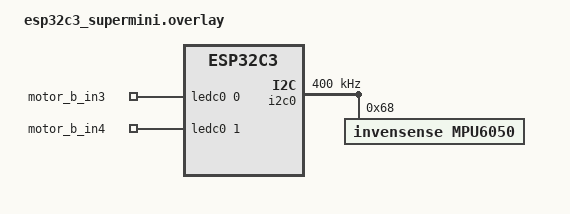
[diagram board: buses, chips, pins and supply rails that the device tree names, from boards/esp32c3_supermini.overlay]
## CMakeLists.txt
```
# SPDX-License-Identifier: Apache-2.0

cmake_minimum_required(VERSION 3.20.0)

find_package(Zephyr REQUIRED HINTS $ENV{ZEPHYR_BASE})
project(gyrostick)

target_include_directories(app PRIVATE
    src
    src/modules/mpu6050
)

target_sources(app PRIVATE
        src/main.cpp
        src/modules/mpu6050/mpu6050.cpp
)
```

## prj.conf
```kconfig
# C++
CONFIG_CPP=y

#Console
CONFIG_CONSOLE=y

#Enable builtin LOG system
CONFIG_LOG=y
CONFIG_LOG_DEFAULT_LEVEL=3
CONFIG_CBPRINTF_FP_SUPPORT=y

#Sensor
CONFIG_SENSOR=y
CONFIG_MPU6050=y
CONFIG_MPU6050_TRIGGER_NONE=y #Enable polling mode

#PWM for MX1508
CONFIG_PWM=y
```

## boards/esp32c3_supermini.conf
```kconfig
CONFIG_ESP_USB_SERIAL_JTAG_ENABLED=y
```

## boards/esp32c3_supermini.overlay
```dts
#include <zephyr/dt-bindings/pwm/pwm.h>

/* Pin multiplexing configuration */
/ {
    motor_ctrl {
        compatible = "pwm-leds";
        motor_b_in3: in3 {
            pwms = <&ledc0 0 50000 PWM_POLARITY_NORMAL>;
        };
        motor_b_in4: in4 {
            pwms = <&ledc0 1 50000 PWM_POLARITY_NORMAL>;
        };
    };
};

&pinctrl {
	i2c0_default: i2c0_default {
		group1 {
			pinmux = <I2C0_SDA_GPIO8>,
				 <I2C0_SCL_GPIO9>;
			bias-pull-up;
			drive-open-drain;
			output-high;
		};
	};

	ledc0_default: ledc0_default {
		group1 {
			pinmux = <LEDC_CH0_GPIO2>,
				 <LEDC_CH1_GPIO3>;
        	};
	};
};

/* I2C0 controller and MPU6050 sensor */
&i2c0 {
	status = "okay";
	clock-frequency = <I2C_BITRATE_FAST>;
	pinctrl-0 = <&i2c0_default>;
	pinctrl-names = "default";

	mpu6050: mpu6050@68 {
		compatible = "invensense,mpu6050";
		reg = <0x68>;
		status = "okay";
	};
};

/* motor
&ledc0 {
    pinctrl-0 = <&ledc0_default>;
    pinctrl-names = "default";
    status = "okay";
    #address-cells = <1>;
    #size-cells = <0>;

    channel0@0 {
        reg = <0x0>;
        timer = <0>;
    };

    channel1@1 {
        reg = <0x1>;
        timer = <0>;
    };
};
*/
```

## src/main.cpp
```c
#include <zephyr/kernel.h>
#include <zephyr/drivers/pwm.h>

static constexpr pwm_dt_spec in3 = PWM_DT_SPEC_GET(DT_NODELABEL(motor_b_in3));
static constexpr pwm_dt_spec in4 = PWM_DT_SPEC_GET(DT_NODELABEL(motor_b_in4));

int main()
{
    while (true) {
        // 50% мощности вперед (25 000 нс из периода 50 000 нс)
        pwm_set_pulse_dt(&in3, 25000);
        pwm_set_pulse_dt(&in4, 0);
        k_msleep(2000);

        // Стоп (выбег)
        pwm_set_pulse_dt(&in3, 0);
        pwm_set_pulse_dt(&in4, 0);
        k_msleep(2000);
    }

    return 0;
}
```
